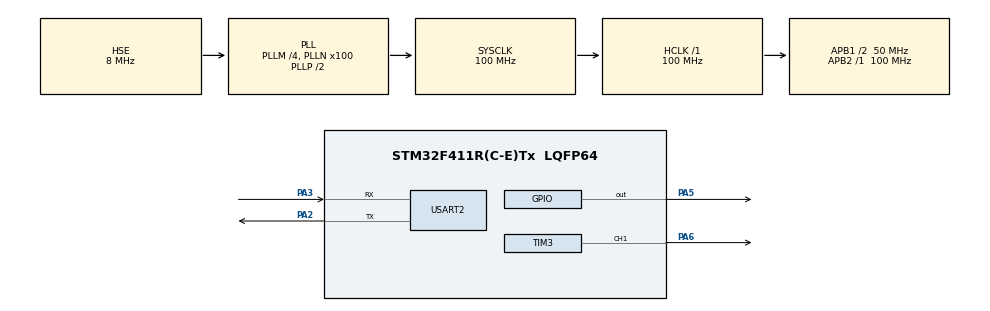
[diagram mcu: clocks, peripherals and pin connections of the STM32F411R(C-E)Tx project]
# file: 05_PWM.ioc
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Mcu.Family=STM32F4
Mcu.Name=STM32F411R(C-E)Tx
Mcu.Package=LQFP64
NVIC.PriorityGroup=NVIC_PRIORITYGROUP_4
NVIC.TIM3_IRQn=true\:0\:0\:false\:false\:true\:true\:true\:true
NVIC.USART2_IRQn=true\:0\:0\:false\:false\:true\:true\:true\:true
PA13.Mode=Serial_Wire
PA13.Signal=SYS_JTMS-SWDIO
PA14.Mode=Serial_Wire
PA14.Signal=SYS_JTCK-SWCLK
PA2.Mode=Asynchronous
PA2.Signal=USART2_TX
PA3.Mode=Asynchronous
PA3.Signal=USART2_RX
PA5.Signal=GPIO_Output
PA6.Signal=S_TIM3_CH1
PH0\ -\ OSC_IN.Mode=HSE-External-Oscillator
PH0\ -\ OSC_IN.Signal=RCC_OSC_IN
PH1\ -\ OSC_OUT.Mode=HSE-External-Oscillator
PH1\ -\ OSC_OUT.Signal=RCC_OSC_OUT
ProjectManager.HeapSize=0x200
ProjectManager.StackSize=0x400
ProjectManager.TargetToolchain=STM32CubeIDE
RCC.48MHZClocksFreq_Value=50000000
RCC.AHBFreq_Value=100000000
RCC.APB1CLKDivider=RCC_HCLK_DIV2
RCC.APB1Freq_Value=50000000
RCC.APB1TimFreq_Value=100000000
RCC.APB2Freq_Value=100000000
RCC.APB2TimFreq_Value=100000000
RCC.CortexFreq_Value=100000000
RCC.HCLKFreq_Value=100000000
RCC.HSE_VALUE=8000000
RCC.HSI_VALUE=16000000
RCC.LSE_VALUE=32768
RCC.PLLM=4
RCC.PLLN=100
RCC.PLLSourceVirtual=RCC_PLLSOURCE_HSE
RCC.SYSCLKFreq_VALUE=100000000
RCC.SYSCLKSource=RCC_SYSCLKSOURCE_PLLCLK
RCC.VCOOutputFreq_Value=200000000
SH.S_TIM3_CH1.0=TIM3_CH1,PWM Generation1 CH1
TIM3.Channel-PWM\ Generation1\ CH1=TIM_CHANNEL_1
TIM3.Period=2000 -1
TIM3.Prescaler=1000-1
USART2.VirtualMode=VM_ASYNC
VP_TIM3_VS_ClockSourceINT.Mode=Internal
board=custom

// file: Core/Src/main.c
/* USER CODE BEGIN Header */
/**
 ******************************************************************************
 * @file           : main.c
 * @brief          : Main program body
 ******************************************************************************
 * @attention
 *
 * Copyright (c) 2025 STMicroelectronics.
 * All rights reserved.
 *
 * This software is licensed under terms that can be found in the LICENSE file
 * in the root directory of this software component.
 * If no LICENSE file comes with this software, it is provided AS-IS.
 *
 ******************************************************************************
 */
/* USER CODE END Header */
#include "main.h"
#include "tim.h"
#include "usart.h"
#include "gpio.h"

/* USER CODE BEGIN PV */

uint8_t rxData;

/* USER CODE END PV */

void SystemClock_Config(void);
/* USER CODE BEGIN PFP */

void HAL_UART_RxCpltCallback(UART_HandleTypeDef *huart)
{
  HAL_UART_Receive_IT(&huart2, &rxData, 1);

  if(huart->Instance == USART2)
    {
      HAL_UART_Receive_IT(&huart2, &rxData, sizeof(rxData));
      HAL_UART_Transmit(&huart2, &rxData, sizeof(rxData), 100);
      if(rxData == 'a' || rxData == 'b' || rxData == 'c')
	{
	  switch (rxData) {
	    case 'a':
	      TIM3->CCR1 = 50;
	      break;
	    case 'b':
	      TIM3->CCR1 = 150;
	      break;
	    case 'c':
	      TIM3->CCR1 = 250;
	      break;
	  }
	}
    }

}

/* USER CODE END PFP */

int main(void)
{

  /* MCU Configuration--------------------------------------------------------*/

  /* Reset of all peripherals, Initializes the Flash interface and the Systick. */
  HAL_Init();

  /* Configure the system clock */
  SystemClock_Config();

  /* Initialize all configured peripherals */
  MX_GPIO_Init();
  MX_TIM3_Init();
  MX_USART2_UART_Init();
  /* USER CODE BEGIN 2 */

  HAL_UART_Receive_IT(&huart2, &rxData, sizeof(rxData));
  HAL_TIM_PWM_Start(&htim3, TIM_CHANNEL_1);

  /* USER CODE END 2 */

  /* Infinite loop */
  while (1)
    {

    }
}

void SystemClock_Config(void)
{
  RCC_OscInitTypeDef RCC_OscInitStruct = {0};
  RCC_ClkInitTypeDef RCC_ClkInitStruct = {0};

  /** Configure the main internal regulator output voltage
  */
  __HAL_RCC_PWR_CLK_ENABLE();
  __HAL_PWR_VOLTAGESCALING_CONFIG(PWR_REGULATOR_VOLTAGE_SCALE1);

  /** Initializes the RCC Oscillators according to the specified parameters
  * in the RCC_OscInitTypeDef structure.
  */
  RCC_OscInitStruct.OscillatorType = RCC_OSCILLATORTYPE_HSE;
  RCC_OscInitStruct.HSEState = RCC_HSE_ON;
  RCC_OscInitStruct.PLL.PLLState = RCC_PLL_ON;
  RCC_OscInitStruct.PLL.PLLSource = RCC_PLLSOURCE_HSE;
  RCC_OscInitStruct.PLL.PLLM = 4;
  RCC_OscInitStruct.PLL.PLLN = 100;
  RCC_OscInitStruct.PLL.PLLP = RCC_PLLP_DIV2;
  RCC_OscInitStruct.PLL.PLLQ = 4;
  if (HAL_RCC_OscConfig(&RCC_OscInitStruct) != HAL_OK)
  {
    Error_Handler();
  }

  /** Initializes the CPU, AHB and APB buses clocks
  */
  RCC_ClkInitStruct.ClockType = RCC_CLOCKTYPE_HCLK|RCC_CLOCKTYPE_SYSCLK
                              |RCC_CLOCKTYPE_PCLK1|RCC_CLOCKTYPE_PCLK2;
  RCC_ClkInitStruct.SYSCLKSource = RCC_SYSCLKSOURCE_PLLCLK;
  RCC_ClkInitStruct.AHBCLKDivider = RCC_SYSCLK_DIV1;
  RCC_ClkInitStruct.APB1CLKDivider = RCC_HCLK_DIV2;
  RCC_ClkInitStruct.APB2CLKDivider = RCC_HCLK_DIV1;

  if (HAL_RCC_ClockConfig(&RCC_ClkInitStruct, FLASH_LATENCY_3) != HAL_OK)
  {
    Error_Handler();
  }
}

void Error_Handler(void)
{
  __disable_irq();
  while (1)
    {
    }
}
